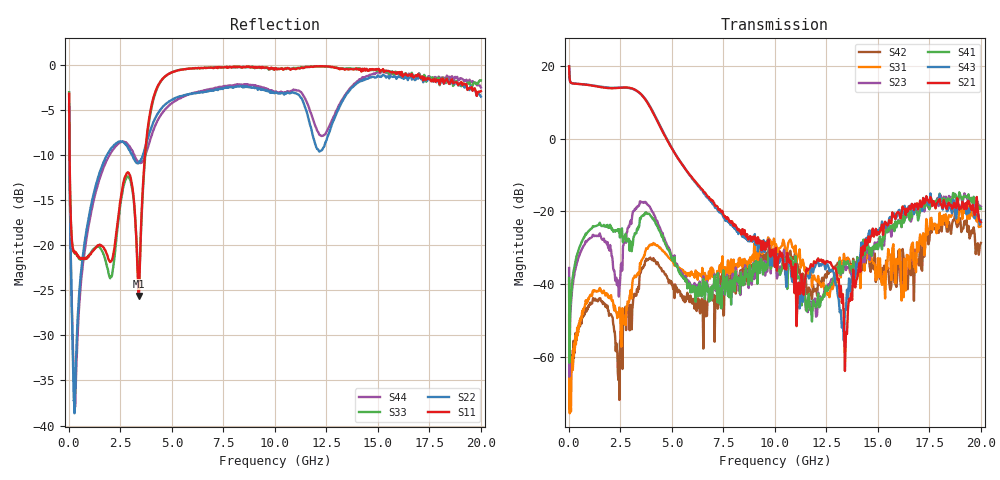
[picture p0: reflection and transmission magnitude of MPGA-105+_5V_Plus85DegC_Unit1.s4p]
!Mini-Circuits Laboratory
!S-Parameters
!Model: MPGA-105+
!Run / Lot / Date Code: NA / BP384P001-05 / 1348
!Fixture: NA; TB-561+
!AUTO PORT EXTENSION DONE: PORT<1>=113.35ps; PORT<2>=112.76ps; PORT<3>=112.16ps; PORT<4>=112.11ps
!Network Analyzer: PNA-X N5242A - 423 4 ports;  Serial number: 71256
!Date: 2/15/2014
!S/N: Unit# 1
!Correction: S11(Full 4 Port(1,2,3,4))
!S12(Full 4 Port(1,2,3,4))
!S13(Full 4 Port(1,2,3,4))
!S14(Full 4 Port(1,2,3,4))
!S21(Full 4 Port(1,2,3,4))
!S22(Full 4 Port(1,2,3,4))
!S23(Full 4 Port(1,2,3,4))
!S24(Full 4 Port(1,2,3,4))
!S31(Full 4 Port(1,2,3,4))
!S32(Full 4 Port(1,2,3,4))
!S33(Full 4 Port(1,2,3,4))
!S34(Full 4 Port(1,2,3,4))
!S41(Full 4 Port(1,2,3,4))
!S42(Full 4 Port(1,2,3,4))
!S43(Full 4 Port(1,2,3,4))
!S44(Full 4 Port(1,2,3,4))
!S4P File: Measurements: <S11,S12,S13,S14>,
!<S21,S22,S23,S24>,
!<S31,S32,S33,S34>,
!<S41,S42,S43,S44>:
# Hz S  dB  R 50
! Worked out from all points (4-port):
!   660 points, 10 MHz to 20 GHz, reference 50 ohm
!   strongest paths, dB at 10 MHz, 2.65 GHz, 6.775 GHz, 11.8 GHz, 20 GHz:
!     S21: 19.9, 14.1, -16.1, -35.1, -23.0
!     S43: 19.9, 14.0, -16.5, -35.4, -22.5
!     S41: -38.3, -27.6, -41.1, -50.3, -19.3
!     S23: -35.6, -29.3, -40.9, -47.3, -18.7
!     S31: -48.5, -49.0, -38.2, -40.7, -24.2
!     S42: -39.2, -49.5, -44.2, -44.2, -28.7
!   lowest |S11| = -25.6 dB at 3.4 GHz (marker M1), VSWR 1.11, Z = 45.1 - j0.77 ohm
!   |S11| at or under -10 dB: 33.02 MHz to 3.691 GHz (3.658 GHz wide, 196 % of centre)
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1e7  -3.18 -37.4  -23.18 48.6  -43.26 -137.3  -49.65 -177.2
     19.89 159.8  -4.65 -41.8  -35.59 -135.8  -41.08 -176.2
     -48.51 -168.7  -49.10 171.4  -3.00 -37.9  -22.87 48.3
     -38.35 -168.8  -39.25 175.9  19.93 160.8  -4.36 -41.8
1.3e9  -20.27 137.0  -20.40 -51.9  -43.09 82.2  -62.76 129.0
       14.42 93.7  -13.42 72.5  -26.72 -37.1  -43.76 70.3
       -41.86 64.6  -64.42 99.7  -20.21 140.3  -20.37 -52.8
       -24.06 -33.1  -44.52 54.2  14.49 93.0  -14.12 71.6
2.3e9  -18.68 -78.8  -23.41 -103.6  -42.32 69.4  -58.16 78.9
       13.89 30.8  -8.68 25.8  -38.25 -99.1  -44.78 32.8
       -47.91 21.2  -58.95 105.5  -19.42 -84.7  -23.31 -105.5
       -25.20 -108.9  -56.29 -41.2  13.96 28.4  -8.96 20.2
3.4e9  -25.62 -170.6  -22.01 -30.6  -41.58 -139.4  -51.08 -128.9
       12.72 -65.0  -10.86 -106.5  -18.45 -126.7  -35.64 -161.3
       -37.29 168.9  -59.17 -158.8  -24.22 -179.5  -22.63 -33.7
       -24.34 -141.1  -41.29 -173.2  12.71 -67.2  -10.84 -100.7
4e9  -4.59 -175.5  -19.94 -98.2  -29.00 122.0  -43.56 125.6
     8.03 -122.5  -6.94 161.8  -19.61 133.4  -31.77 113.8
     -29.30 114.1  -45.91 121.2  -4.85 179.6  -19.97 -101.9
     -21.51 129.9  -33.21 121.1  8.25 -125.7  -7.90 160.8
5.175e9  -0.66 123.3  -25.77 -160.7  -34.75 35.6  -48.50 47.9
         -4.37 178.8  -3.64 109.0  -34.29 38.3  -40.61 55.4
         -34.73 34.7  -49.18 52.6  -0.64 116.6  -25.79 -168.2
         -34.89 33.3  -40.42 64.6  -4.29 172.1  -3.93 98.0
2e10  -2.88 81.6  -22.71 51.8  -24.06 143.1  -19.27 4.7
      -22.99 52.6  -3.50 73.4  -18.72 -0.8  -28.67 -160.8
      -24.16 143.0  -18.70 -0.7  -1.70 49.3  -22.69 69.5
      -19.28 4.7  -28.69 -159.9  -22.48 70.5  -2.48 57.3
